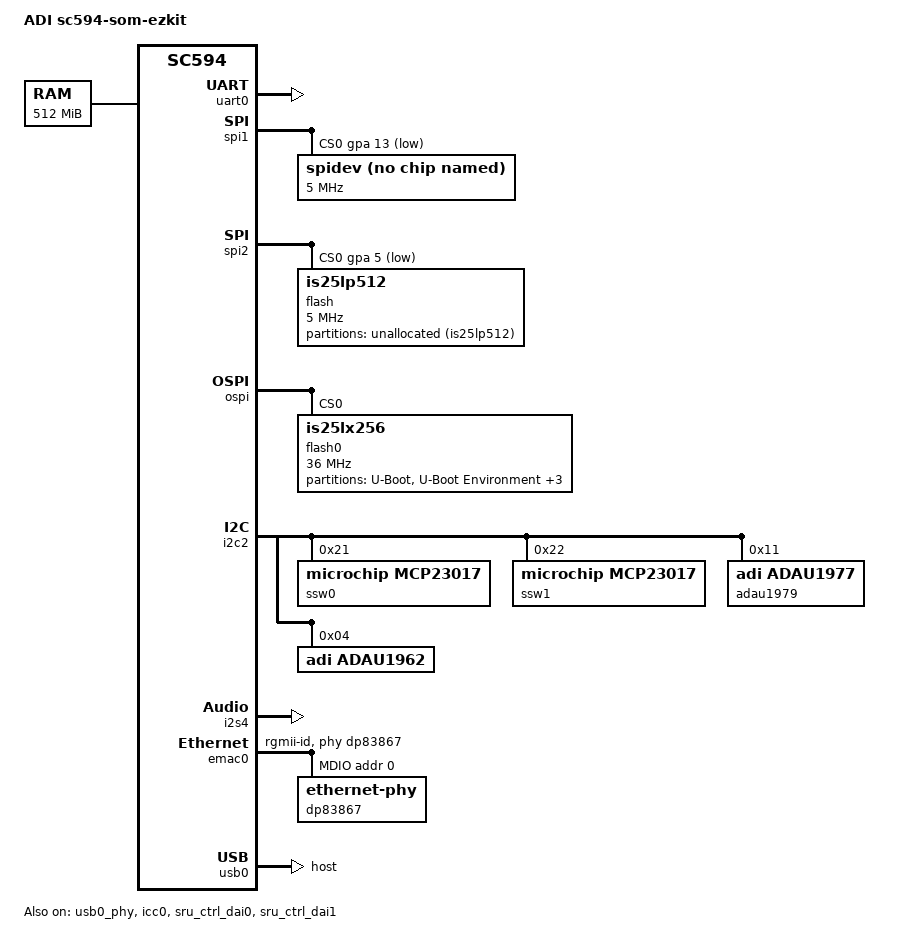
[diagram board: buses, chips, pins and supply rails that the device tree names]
/*
 * Device tree for ADI sc594-som-ezkit board
 *
 * Copyright 2014 - 2020 Analog Devices Inc.
 *
 * Licensed under the GPL-2 or later.
 *
 */

/dts-v1/;

#include <dt-bindings/gpio/gpio.h>
#include <dt-bindings/pinctrl/adi-adsp.h>
#include <dt-bindings/pinctrl/adi-adsp-sru.h>
#include <dt-bindings/net/ti-dp83867.h>
#include "sc59x.dtsi"

/ {
	model = "ADI sc594-som-ezkit";
	compatible = "adi,sc594-som-ezkit", "adi,sc59x";

	aliases {
	};

	memory@80000000 {
		device_type = "memory";
		reg = <0xa0000000 0x20000000>;
	};

#ifdef IGNORE_FOR_NOW
	reserved-memory {
		#address-cells = <1>;
		#size-cells = <1>;
		ranges;

		vdev0vrings: vdev0vring0@20010000 {
			reg = <0x20010000 0x4000>;
			no-map;
		};

		vdev0buffer: vdev0buffer@20014000 {
			compatible = "shared-dma-pool";
			reg = <0x20014000 0x20000>;
			no-map;
		};

		vdev1vrings: vdev0vring0@20034000 {
			reg = <0x20034000 0x4000>;
			no-map;
		};

		vdev1buffer: vdev0buffer@20038000 {
			compatible = "shared-dma-pool";
			reg = <0x20038000 0x20000>;
			no-map;
		};
	};

	reserved-memory {
		#address-cells = <1>;
		#size-cells = <1>;
		ranges;

		rsc_tbl0: rsc_tbl0@20000000 {
			reg = <0x20000000 0x400>; /*1KiB*/
			no-map;
		};

		rsc_tbl1: rsc_tbl0@20000400 {
			reg = <0x20000400 0x400>; /*1KiB*/
			no-map;
		};

		sram_B1_unused@20000800 {
			reg = <0x20000800 0x4800>; /*18KiB*/
			no-map;
		};

		sharc_internal_icc@20005000 {
			reg = <0x20005000 0x20000>; /*128KiB*/
			no-map;
		};
	};
#endif

	scb {

/* The button GPIO conflicts with OSPI0_D4 for this
		button0: button@0 {
			compatible = "adi,button-led";
			button_gpio = <48>; /* PD_00
			led_gpio = <35>; /* PC_03 / LED9 / LED1_KIT
		};
*/

/* This also appears to interfere with the OSPI somehow...
   possible trace noise/interference?
		button1: button@1 {
			compatible = "adi,button-led";
			button_gpio = <112>; /* PH_00
			led_gpio = <34>; /* PC_02 / LED8 / LED2_KIT
		};
*/

		sharc0: core1-rproc@0x28240000 {
			compatible = "adi,remoteproc";
			reg = <0x28240000 0x160000>,
					<0x20000000 0x200000>;
			core-id = <1>;
			core-irq = <74>; /* SOFT1 */
			firmware-name = "adi_adsp_core1_fw.ldr";
			interrupts = <GIC_SPI 165 IRQ_TYPE_EDGE_RISING>; /* TRU0_SLV3 */
			adi,rcu = <&rcu>;
			adi,l1-da = <0x240000 0x3a0000>;
			adi,l2-da = <0x20000000 0x20200000>;
			/*adi,rsc-table = <&rsc_tbl0>;*/
			adi,verify = <1>;
			adi,tru = <&tru>;
			adi,tru-master-id = <140>; /* trigger master SOFT4 */
			status = "okay";
		};

		sharc1: core2-rproc@0x28a40000 {
			compatible = "adi,remoteproc";
			reg = <0x28a40000 0x160000>,
					<0x20000000 0x200000>;
			core-id = <2>;
			core-irq = <75>; /* SOFT2 */
			firmware-name = "adi_adsp_core2_fw.ldr";
			interrupts = <GIC_SPI 165 IRQ_TYPE_EDGE_RISING>; /* TRU0_SLV3 */
			adi,rcu = <&rcu>;
			adi,l1-da = <0x240000 0x3a0000>;
			adi,l2-da = <0x20000000 0x20200000>;
			/*adi,rsc-table = <&rsc_tbl1>;*/
			adi,verify = <1>;
			adi,tru = <&tru>;
			adi,tru-master-id = <141>; /* trigger master SOFT5 */
			status = "okay";
		};

		sound {
			compatible = "sc5xx,asoc-card";
			adi,cpu-dai = <&i2s4>;
			adi,codec = <&adau1962>, <&adau1979>;
			iram = <&sram1>;
		};

/*
		lcd@0 {
			compatible = "sc58x,lcd";
			reg = <0x31040000 0xFF>;
			interrupts = <GIC_SPI 83 IRQ_TYPE_LEVEL_HIGH>;
			dma-channel = <28>;
			cs-gpio = <39>;
			spu_securep_id = <95>;
			pinctrl-names = "default", "ppi_16b", "ppi_24b";
			pinctrl-0 = <&ppi0_8b>;
			pinctrl-1 = <&ppi0_16b>;
			pinctrl-2 = <&ppi0_24b>;
		};
*/
	};
};

&uart0 {
	pinctrl-names = "default";
	pinctrl-0 = <&uart0_default>;
	status = "okay";
};

&rtc0 {
	status = "disabled";
};

&spi0 {
	pinctrl-names = "default";
	pinctrl-0 = <&spi0_default>;
	status = "disabled";

	cs-gpios = <&gpc 12 GPIO_ACTIVE_LOW>,
				<&gpc 0 GPIO_ACTIVE_LOW>;

	spidev@0 {
		#address-cells = <1>;
		#size-cells = <1>;
		compatible = "rohm,dh2228fv";
		spi-max-frequency = <5000000>;
		reg = <0>;
	};

	ad7879_touchscreen@1 {
		#address-cells = <1>;
		#size-cells = <1>;
		compatible = "adi,ad7879";
		spi-max-frequency = <5000000>;
		reg = <1>;
		gpio = <88>;
		gpio-controller;
		spi-cpha;
		spi-cpol;
		touchscreen-max-pressure = <10000>;
		adi,resistance-plate-x = <620>;
		adi,first-conversion-delay = /bits/ 8 <3>;
		adi,acquisition-time = /bits/ 8 <1>;
		adi,median-filter-size = /bits/ 8 <2>;
		adi,averaging = /bits/ 8 <1>;
		adi,conversion-interval = /bits/ 8 <255>;
	};
};

&spi1 {
	pinctrl-names = "default";
	pinctrl-0 = <&spi1_default>;
	status = "okay";

	cs-gpios = <&gpa 13 GPIO_ACTIVE_LOW>;

	spidev@0{
		compatible = "rohm,dh2228fv";
		spi-max-frequency = <5000000>;
		reg = <0>;
	};
};

&spi2 {
	pinctrl-names = "default";
	pinctrl-0 = <&spi2_quad>;
	status = "okay";

	cs-gpios = <&gpa 5 GPIO_ACTIVE_LOW>;

/* mx66lm1g45 and is25lp512 are mutually exclusive */

/*
	flash: mx66lm1g45@0 {
		#address-cells = <1>;
		#size-cells = <1>;
		compatible = "mx66lm1g45", "jedec,spi-nor";
		spi-max-frequency = <5000000>;
		reg = <0>;
		spi-cpol;
		spi-cpha;
		spi-rx-bus-width = <4>;

		partition@0 {
			label = "unallocated (mx66)";
			reg = <0x0 0x2000000>;
		};

	};
*/

	flash: is25lp512@0 {
		#address-cells = <1>;
		#size-cells = <1>;
		compatible = "is25lp512", "jedec,spi-nor";
		spi-max-frequency = <5000000>;
		reg = <0>;
		spi-cpol;
		spi-cpha;
		spi-rx-bus-width = <4>;
		/*adi,enable-dma;*/

		partition@0 {
			label = "unallocated (is25lp512)";
			reg = <0x0 0x2000000>;
		};

	};

};

&ospi {
	pinctrl-names = "default";
	pinctrl-0 = <&ospi_default>;

	status = "okay";

	flash0: is25lx256@0 {
		#address-cells = <1>;
		#size-cells = <1>;
		compatible = "is25lx256";
		reg = <0>;

		/* Adjust as needed, depends on board signal integrity
		    -- I was seeing issues with data writes at faster speeds */
		spi-max-frequency = <36000000>;

		/*m25p,fast-read;*/

		cdns,page-size = <256>;
		cdns,block-size = <16>;
		cdns,read-delay = <4>;
		cdns,tshsl-ns = <50>;
		cdns,tsd2d-ns = <50>;
		cdns,tchsh-ns = <4>;
		cdns,tslch-ns = <4>;

		partitions {
			compatible = "fixed-partitions";
			#address-cells = <1>;
			#size-cells = <1>;

			ospi_0: partition@0 {
				label = "U-Boot";
				reg = <0x0 0x80000>;
			};

			ospi_1: partition@1 {
				label = "U-Boot Environment";
				reg = <0x80000 0x20000>;
			};

			ospi_2: partition@2 {
				label = "Device Tree Blob";
				reg = <0xA0000 0x20000>;
			};

			ospi_3: partition@3 {
				label = "Kernel zImage";
				reg = <0xC0000 0x600000>;
			};

			ospi_4: partition@4 {
				label = "JFFS2 Formatted RFS";
				reg = <0x6C0000 0x1940000>;
			};
		};
	};
};

&i2c0 {
	status = "disabled";
};

&i2c1 {
	status = "disabled";
};

&i2c2 {
	status = "okay";

	ssw0: gpio@0x21 {
		compatible = "microchip,mcp23017";
		gpio-controller;
		#gpio-cells = <2>;
		reg = <0x21>;

		led1 {
			gpio-hog;
			gpios = <0 0x0>;
			output-high;
			line-name = "led1-en";
		};

		led2 {
			gpio-hog;
			gpios = <1 0x0>;
			output-high;
			line-name = "led2-en";
		};

		led3 {
			gpio-hog;
			gpios = <2 0x0>;
			output-high;
			line-name = "led3-en";
		};

		spi2flash-cs {
			gpio-hog;
			gpios = <3 0x0>;
			output-low;
			line-name = "~spi2flash-cs";
		};

		spi2d2-d3 {
			gpio-hog;
			gpios = <4 0x0>;
			output-low;
			line-name = "~spi2d2-d3-en";
		};

		uart0 {
			gpio-hog;
			gpios = <5 0x0>;
			output-low;
			line-name = "~uart0-en";
		};

		uart0-flow-en {
			gpio-hog;
			gpios = <6 0x0>;
			output-high;
			line-name = "~uart0-flow-en";
		};

		ospiflash-cs {
			gpio-hog;
			gpios = <7 0x0>;
			output-low;
			line-name = "~ospiflash-cs";
		};
	};

	ssw1: gpio@0x22 {
		compatible = "microchip,mcp23017";
		gpio-controller;
		#gpio-cells = <2>;
		reg = <0x22>;

		eeprom {
			gpio-hog;
			gpios = <0 0x0>;
			output-low;
			line-name = "eeprom-en";
		};

		pushbutton {
			gpio-hog;
			gpios = <1 0x0>;
			output-low;
			line-name = "pushbutton-en";
		};

		microsd {
			gpio-hog;
			gpios = <2 0x0>;
			output-high;
			line-name = "~microsd-spi";
		};

		adau-reset {
			gpio-hog;
			gpios = <5 0x0>;
			output-high;
			line-name = "adau1962-reset";
		};

		adau1962 {
			gpio-hog;
			gpios = <6 0x0>;
			output-low;
			line-name = "adau1962-en";
		};

		adau1979 {
			gpio-hog;
			gpios = <7 0x0>;
			output-low;
			line-name = "adau1979-en";
		};

		octal {
			gpio-hog;
			gpios = <8 0x0>;
			output-low;
			line-name = "octal-spi-cs-en";
		};

		spdif-dig {
			gpio-hog;
			gpios = <9 0x0>;
			output-high;
			line-name = "~spdif-digital-en";
		};

		spdif-opt {
			gpio-hog;
			gpios = <10 0x0>;
			output-high;
			line-name = "~spdif-optical-en";
		};

		audio-jack {
			gpio-hog;
			gpios = <11 0x0>;
			output-high;
			line-name = "audio-jack-sel";
		};

		mlb {
			gpio-hog;
			gpios = <12 0x0>;
			output-high;
			line-name = "~mlb-en";
		};

		eth1 {
			gpio-hog;
			gpios = <13 0x0>;
			output-low;
			line-name = "~eth1-en";
		};

		eth1-reset {
			gpio-hog;
			gpios = <14 0x0>;
/* USB0 lines are shared with Eth1 so  Eth PHY must be held in reset
   when using the USB */
			output-low;
			line-name = "~eth1-reset";
		};

		gige-reset {
			gpio-hog;
			gpios = <15 0x0>;
			output-high;
			line-name = "~gige-reset";
		};

	};

	adau1979: adau1979@0x11 {
		compatible = "adi,adau1977";
		reg = <0x11>;
	};

	adau1962: adau1962@0x4 {
		compatible = "adi,adau1962";
		reg = <0x4>;
	};

};

&i2s4 {
	pinctrl-names = "default";
	pinctrl-0 = <&sru_dai1>;
	status = "okay";
};

&crc0 {
	status = "disabled";
};

&crc1 {
	status = "disabled";
};

&can0 {
	pinctrl-names = "default";
	/*pinctrl-0 = <&can0_default>;*/
	phy-name = "tja1055";
	phy-gpios = <&gpb 8 0>,		/* en PB8 */
		    <&gpb 2 0x1>;	/* stb PB2, GPIO_ACTIVE_LOW */
	status = "disabled";
};

&can1 {
	pinctrl-names = "default";
	/*pinctrl-0 = <&can1_default>;*/
	phy-name = "tja1145";
	phy-spibus = /bits/ 16 <0>;
	phy-spiclk = <1000000>;
	phy-spics = /bits/ 16 <44>;	/* GPIO_PC12 */
	status = "disabled";
};


&emac0 {
	snps,reset-active-low;
	snps,reset-delays-us = <0 200 500>;
	phy-handle = <&dp83867>;
	phy-mode = "rgmii-id";
	pinctrl-names = "default";
	pinctrl-0 = <&eth0_default>;
	status = "okay";
	snps,mtl-rx-config = <&emac0rxconfig>;
	snps,mtl-tx-config = <&emac0txconfig>;

	emac0txconfig: tx-config {
		snps,tx-queues-to-use = <3>;

		queue0 {
			snps,dcb-algorithm;
		};

		queue1 {
			snps,dcb-algorithm;
		};

		queue2 {
			snps,dcb-algorithm;
		};
	};

	emac0rxconfig: rx-config {
		snps,rx-queues-to-use = <1>;

		queue0 {
			snps,dcb-algorithm;
		};

		queue1 {
			snps,dcb-algorithm;
		};

		queue2 {
			snps,dcb-algorithm;
		};
	};

	mdio0 {
		compatible = "snps,dwmac-mdio";
		#address-cells = <1>;
		#size-cells = <0>;
		dp83867: ethernet-phy@0 {
			reg = <0>;
			ti,rx-internal-delay = <DP83867_RGMIIDCTL_2_00_NS>;
			ti,tx-internal-delay = <DP83867_RGMIIDCTL_2_00_NS>;
			ti,fifo-depth = <DP83867_PHYCR_FIFO_DEPTH_8_B_NIB>;
			ti,dp83867-rxctrl-strap-quirk;
		};
	};
};

&emac1 {
	phy-handle = <&dp83848>;
	phy-mode = "rmii";
	pinctrl-names = "default";
	pinctrl-0 = <&eth1_default>;
	status = "disabled";

	mdio1 {
		compatible = "snps,dwmac-mdio";
		#address-cells = <1>;
		#size-cells = <0>;
		dp83848: ethernet-phy@1 {
			reg = <1>;
		};
	};
};

&usb0_phy {
	reset-gpios = <&gpg 11 GPIO_ACTIVE_LOW>;
	status = "okay";
};

&usb0 {
	dr_mode = "host";
	pinctrl-names = "default";
	pinctrl-0 = <&usbc0_default>;
	status = "okay";
};

&mmc0 {
	/* wp-en-pin = <&ssw0 ? GPIO_ACTIVE_LOW>;	 SD_WP_EN */
	bus-width = <4>;
	pinctrl-names = "default";
	pinctrl-0 = <&mmc0_8bgrp>;
	supports-highspeed;
	status = "disabled";
};

&icc0 {
	adi,tru = <&tru>;
	status = "okay";
};

/*
&video_decoder {
	pinctrl-names = "8bit", "16bit", "24bit";
	pinctrl-0 = <&ppi0_8b>;
	pinctrl-1 = <&ppi0_16b>;
	pinctrl-2 = <&ppi0_24b>;
	status = "disabled";
};

&video_encoder {
	pinctrl-names = "8bit", "16bit", "24bit";
	pinctrl-0 = <&ppi0_8b>;
	pinctrl-1 = <&ppi0_16b>;
	pinctrl-2 = <&ppi0_24b>;
	status = "disabled";
};
*/


/*
&lp0 {
	pinctrl-names = "default";
	pinctrl-0 = <&lp0_default>;
	status = "okay";
};

&lp1 {
	pinctrl-names = "default";
	pinctrl-0 = <&lp1_default>;
	status = "okay";
};
*/

&sram_mmap {
	status = "disabled";
};

&pinctrl0 {
	uart0_default: uart0_default_pins {
		pins {
			pinmux = <ADI_ADSP_PINMUX('A', 6, ADI_ADSP_PINFUNC_ALT1)>,
					 <ADI_ADSP_PINMUX('A', 7, ADI_ADSP_PINFUNC_ALT1)>;
		};
	};
	uart0_hwflow: uart0_hwflow_pins {
		pins {
			pinmux = <ADI_ADSP_PINMUX('A', 6, ADI_ADSP_PINFUNC_ALT1)>,
					 <ADI_ADSP_PINMUX('A', 7, ADI_ADSP_PINFUNC_ALT1)>,
					 <ADI_ADSP_PINMUX('A', 8, ADI_ADSP_PINFUNC_ALT1)>,
					 <ADI_ADSP_PINMUX('A', 9, ADI_ADSP_PINFUNC_ALT1)>;
		};
	};
	spi0_default: spi0_default_pins {
		pins {
			pinmux = <ADI_ADSP_PINMUX('A', 6, ADI_ADSP_PINFUNC_ALT0)>,
			         <ADI_ADSP_PINMUX('A', 7, ADI_ADSP_PINFUNC_ALT0)>,
					 <ADI_ADSP_PINMUX('A', 8, ADI_ADSP_PINFUNC_ALT0)>;
		};
	};
	spi1_default: spi1_default_pins {
		pins {
			pinmux = <ADI_ADSP_PINMUX('A', 10, ADI_ADSP_PINFUNC_ALT1)>,
			         <ADI_ADSP_PINMUX('A', 11, ADI_ADSP_PINFUNC_ALT1)>,
					 <ADI_ADSP_PINMUX('A', 12, ADI_ADSP_PINFUNC_ALT1)>;
		};
	};
	spi2_quad: spi2_quad_pins {
		pins {
			pinmux = <ADI_ADSP_PINMUX('A', 0, ADI_ADSP_PINFUNC_ALT0)>,
			         <ADI_ADSP_PINMUX('A', 1, ADI_ADSP_PINFUNC_ALT0)>,
			         <ADI_ADSP_PINMUX('A', 2, ADI_ADSP_PINFUNC_ALT0)>,
			         <ADI_ADSP_PINMUX('A', 3, ADI_ADSP_PINFUNC_ALT0)>,
					 <ADI_ADSP_PINMUX('A', 4, ADI_ADSP_PINFUNC_ALT0)>;
		};
	};
	ospi_default: ospi_default_pins {
		pins {
			pinmux = <ADI_ADSP_PINMUX('C', 8, ADI_ADSP_PINFUNC_ALT0)>,
			         <ADI_ADSP_PINMUX('C', 9, ADI_ADSP_PINFUNC_ALT0)>,
			         <ADI_ADSP_PINMUX('C', 10, ADI_ADSP_PINFUNC_ALT0)>,
			         <ADI_ADSP_PINMUX('C', 11, ADI_ADSP_PINFUNC_ALT0)>,
			         <ADI_ADSP_PINMUX('C', 12, ADI_ADSP_PINFUNC_ALT0)>,
			         <ADI_ADSP_PINMUX('C', 13, ADI_ADSP_PINFUNC_ALT0)>,
			         <ADI_ADSP_PINMUX('C', 14, ADI_ADSP_PINFUNC_ALT0)>,
			         <ADI_ADSP_PINMUX('C', 15, ADI_ADSP_PINFUNC_ALT0)>,
			         <ADI_ADSP_PINMUX('D', 0, ADI_ADSP_PINFUNC_ALT0)>,
			         <ADI_ADSP_PINMUX('D', 1, ADI_ADSP_PINFUNC_ALT0)>,
			         <ADI_ADSP_PINMUX('D', 4, ADI_ADSP_PINFUNC_ALT2)>;
		};
	};
	i2c2_pins: i2c2_default_pins {
		pins {
			pinmux = <ADI_ADSP_PINMUX('A', 14, ADI_ADSP_PINFUNC_ALT0)>,
			         <ADI_ADSP_PINMUX('A', 15, ADI_ADSP_PINFUNC_ALT0)>;
		};
	};
	eth0_default: eth0_default_pins {
		pins {
			pinmux = <ADI_ADSP_PINMUX('H', 3, ADI_ADSP_PINFUNC_ALT0)>,
			         <ADI_ADSP_PINMUX('H', 4, ADI_ADSP_PINFUNC_ALT0)>,
			         <ADI_ADSP_PINMUX('H', 5, ADI_ADSP_PINFUNC_ALT0)>,
			         <ADI_ADSP_PINMUX('H', 6, ADI_ADSP_PINFUNC_ALT0)>,
			         <ADI_ADSP_PINMUX('H', 7, ADI_ADSP_PINFUNC_ALT0)>,
			         <ADI_ADSP_PINMUX('H', 8, ADI_ADSP_PINFUNC_ALT0)>,
			         <ADI_ADSP_PINMUX('H', 9, ADI_ADSP_PINFUNC_ALT0)>,
			         <ADI_ADSP_PINMUX('H', 10, ADI_ADSP_PINFUNC_ALT0)>,
			         <ADI_ADSP_PINMUX('H', 11, ADI_ADSP_PINFUNC_ALT0)>,
			         <ADI_ADSP_PINMUX('H', 12, ADI_ADSP_PINFUNC_ALT0)>,
			         <ADI_ADSP_PINMUX('H', 13, ADI_ADSP_PINFUNC_ALT0)>,
			         <ADI_ADSP_PINMUX('H', 14, ADI_ADSP_PINFUNC_ALT0)>,
			         <ADI_ADSP_PINMUX('H', 15, ADI_ADSP_PINFUNC_ALT0)>,
			         <ADI_ADSP_PINMUX('I', 0, ADI_ADSP_PINFUNC_ALT0)>;
		};
	};
	eth1_default: eth1_default_pins {
		pins {
			pinmux = <ADI_ADSP_PINMUX('E', 11, ADI_ADSP_PINFUNC_ALT0)>,
			         <ADI_ADSP_PINMUX('E', 12, ADI_ADSP_PINFUNC_ALT0)>,
			         <ADI_ADSP_PINMUX('E', 13, ADI_ADSP_PINFUNC_ALT0)>,
			         <ADI_ADSP_PINMUX('E', 14, ADI_ADSP_PINFUNC_ALT0)>,
			         <ADI_ADSP_PINMUX('E', 15, ADI_ADSP_PINFUNC_ALT0)>,
			         <ADI_ADSP_PINMUX('F', 0, ADI_ADSP_PINFUNC_ALT0)>,
			         <ADI_ADSP_PINMUX('F', 1, ADI_ADSP_PINFUNC_ALT0)>,
			         <ADI_ADSP_PINMUX('F', 2, ADI_ADSP_PINFUNC_ALT0)>,
			         <ADI_ADSP_PINMUX('F', 3, ADI_ADSP_PINFUNC_ALT0)>;
		};
	};
	mmc0_8bgrp: mmc0_8bgrp_pins {
		pins {
			pinmux = <ADI_ADSP_PINMUX('F', 2, ADI_ADSP_PINFUNC_ALT0)>,
			         <ADI_ADSP_PINMUX('F', 3, ADI_ADSP_PINFUNC_ALT0)>,
			         <ADI_ADSP_PINMUX('F', 4, ADI_ADSP_PINFUNC_ALT0)>,
			         <ADI_ADSP_PINMUX('F', 5, ADI_ADSP_PINFUNC_ALT0)>,
			         <ADI_ADSP_PINMUX('F', 6, ADI_ADSP_PINFUNC_ALT0)>,
			         <ADI_ADSP_PINMUX('F', 7, ADI_ADSP_PINFUNC_ALT0)>,
			         <ADI_ADSP_PINMUX('F', 8, ADI_ADSP_PINFUNC_ALT0)>,
			         <ADI_ADSP_PINMUX('F', 9, ADI_ADSP_PINFUNC_ALT0)>,
			         <ADI_ADSP_PINMUX('F', 10, ADI_ADSP_PINFUNC_ALT0)>,
			         <ADI_ADSP_PINMUX('F', 11, ADI_ADSP_PINFUNC_ALT0)>,
			         <ADI_ADSP_PINMUX('F', 12, ADI_ADSP_PINFUNC_ALT0)>;
		};
	};
	usbc0_default: usbc0_default_pins {
		pins {
			pinmux = <ADI_ADSP_PINMUX('F', 3, ADI_ADSP_PINFUNC_ALT2)>,
			         <ADI_ADSP_PINMUX('F', 4, ADI_ADSP_PINFUNC_ALT2)>,
			         <ADI_ADSP_PINMUX('F', 5, ADI_ADSP_PINFUNC_ALT2)>,
			         <ADI_ADSP_PINMUX('F', 6, ADI_ADSP_PINFUNC_ALT2)>,
			         <ADI_ADSP_PINMUX('F', 7, ADI_ADSP_PINFUNC_ALT2)>,
			         <ADI_ADSP_PINMUX('F', 8, ADI_ADSP_PINFUNC_ALT2)>,
			         <ADI_ADSP_PINMUX('F', 9, ADI_ADSP_PINFUNC_ALT2)>,
			         <ADI_ADSP_PINMUX('F', 10, ADI_ADSP_PINFUNC_ALT2)>,
			         <ADI_ADSP_PINMUX('F', 11, ADI_ADSP_PINFUNC_ALT2)>,
			         <ADI_ADSP_PINMUX('F', 12, ADI_ADSP_PINFUNC_ALT2)>,
			         <ADI_ADSP_PINMUX('F', 13, ADI_ADSP_PINFUNC_ALT2)>,
			         <ADI_ADSP_PINMUX('F', 14, ADI_ADSP_PINFUNC_ALT2)>;
		};
	};
};

&sru_ctrl_dai0 {
	status = "okay";
};

&sru_ctrl_dai1 {
	status = "okay";

	sru_dai1: sru_dai1_mux {
		route {
			sru-routing =
				<DAI1_LOW_F          DAI1_PBEN05_I>,  /* set DAI1_PIN0B to input */
				<DAI1_PB05_O_ABCDE   SPT4_ACLK_I>,    /* route DAI1_PIN0B to SPT4_ACLK */
				<DAI1_LOW_F          DAI1_PBEN04_I>,  /* set DAI1_PIN04 to input */
				<DAI1_PB04_O_ABCDE   SPT4_AFS_I>,     /* route DAI1_PIN04 to SPT4_AFS */
				<DAI1_HIGH_F         DAI1_PBEN01_I>,  /* set DAI1_PIN01 to output */
				<SPT4_AD0_O_BD       DAI1_PB01_I>,    /* route SPT4_AD0 to DAI1_PIN01 */
				<DAI1_LOW_F          DAI1_PBEN12_I>,  /* set DAI1_PIN12 to input */
				<DAI1_PB12_O_ABCDE   SPT4_BCLK_I>,    /* route DAI1_PIN12 to SPT4_BCLK */
				<DAI1_LOW_F          DAI1_PBEN20_I>,  /* set DAI1_PIN20 to input */
				<DAI1_PB20_O_ABCDE   SPT4_BFS_I>,     /* route DAI1_PIN20 to SPT4_BFS */
				<DAI1_LOW_F          DAI1_PBEN06_I>,  /* set DAI1_PIN06 to input */
				<DAI1_PB06_O_ABCDE   SPT4_BD0_I>;     /* route DAI1_PIN06 to SPT4_BD0 */
		};
	};
};

&tru {
	rpmsg_to_a55: channel@0 {
		adi,tru-master-id = <139>; /* trigger master SOFT3 */
		adi,tru-slave-id = <160>; /* TRU0_IRQ3 */
	};
	rpmsg_to_sharc0: channel@1 {
		adi,tru-master-id = <140>; /* trigger master SOFT4 */
		adi,tru-slave-id = <164>; /* TRU0_IRQ7 */
	};
	rpmsg_to_sharc1: channel@2 {
		adi,tru-master-id = <141>; /* trigger master SOFT5 */
		adi,tru-slave-id = <168>; /* TRU0_IRQ11 */
	};
};
